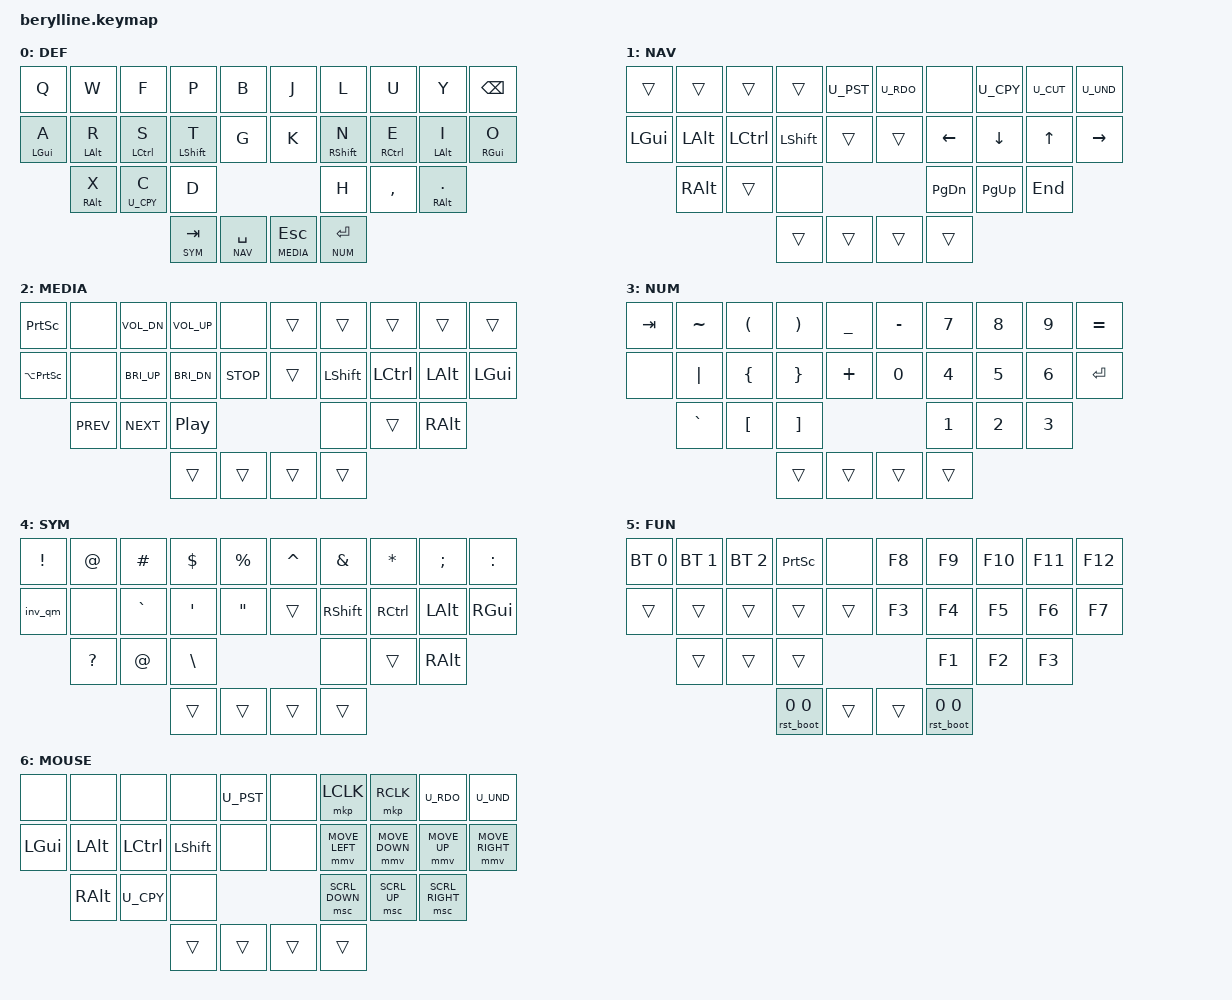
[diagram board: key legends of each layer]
/*
 * Copyright (c) 2022 The ZMK Contributors
 *
 * SPDX-License-Identifier: MIT
 */

#include <behaviors.dtsi>
#include <dt-bindings/zmk/bt.h>
#include <dt-bindings/zmk/keys.h>
#include "keypos_def/30keys.h"

#define BERYLLINE
#include "utilities.dtsi"
#include "mouse.dtsi"
#include "behaviors.dtsi"
#include "combos.dtsi"
#include "macros.dtsi"


/ {

/*   30 KEY MATRIX / LAYOUT MAPPING

  ╭─────────────────────┬─────────────────────╮
  │ LT4 LT3 LT2 LT1 LT0 │ RT0 RT1 RT2 RT3 RT4 │
  │ LM4 LM3 LM2 LM1 LM0 │ RM0 RM1 RM2 RM3 RM4 │
  ╰───╮ LB3 LB2 LB1     │     RB1 RB2 RB3 ╭───╯
      ╰───────╮ LH1 LH0 │ RH0 RH1 ╭───────╯
              ╰─────────┴─────────╯             */
  cond_layers {
      compatible = "zmk,conditional-layers";
      mouse_layer {
          if-layers = <SYM NUM>;
          then-layer = <MOUSE>;
      };

      fun_layer {
          if-layers = <NAV MEDIA>;
          then-layer = <FUN>;
      };
  };

  keymap {
    compatible = "zmk,keymap";

    default {
      display-name = "DEF";
      bindings = <
      &kp Q         &kp W         &kp F          &kp P          &kp B            &kp J         &kp L          &kp U          &kp Y            &kp BSPC 
      &hm_o LGUI A  &hm_o LALT R  &hm_m LCTL S   &hm_i LSHFT T  &kp G            &kp K         &hm_i RSHFT N  &hm_m RCTL E   &hm_o LALT I     &hm_o RGUI O 
                    &hm_o RALT X  &hm_o U_CPY C  &kp D                                         &kp H          &kp COMMA      &hm_o RALT DOT        
                                                 &lt SYM TAB  &lt NAV SPC        &lt MEDIA ESC &lt NUM RET
      >;
    };
    
    navigation {
      display-name = "NAV";
      bindings = <
      &trans    &trans    &trans     &trans     &kp U_PST &kp U_RDO  &none         &kp U_CPY  &kp U_CUT  &kp U_UND
      &kp LGUI  &kp LALT  &kp LCTRL  &kp LSHFT  &trans    &trans     &kp LEFT   &kp DOWN   &kp UP     &kp RIGHT
                &kp RALT  &trans     &none                           &kp PG_DN  &kp PG_UP  &kp END
                                     &trans     &trans    &trans     &trans
      >;
    };

    media {
      display-name = "MEDIA";
      bindings = <
      &kp PSCRN     &none         &kp C_VOL_DN  &kp C_VOL_UP  &none               &trans     &trans     &trans     &trans     &trans
      &kp LA(PSCRN) &none         &kp C_BRI_UP  &kp C_BRI_DN  &kp C_STOP          &trans     &kp LSHFT  &kp LCTRL  &kp LALT  &kp LGUI
                    &kp C_PREV    &kp C_NEXT    &kp C_PP                          &none      &trans     &kp RALT
                                                &trans     &trans    &trans          &trans
      >;
    };

    numbers {
      display-name = "NUM";
      bindings = <
      &kp TAB   &kp TILDE &kp LPAR   &kp RPAR  &kp UNDER   &kp MINUS  &kp N7     &kp N8     &kp N9    &kp EQUAL
      &none     &kp PIPE  &kp LBRC   &kp RBRC  &kp PLUS    &kp N0     &kp N4     &kp N5     &kp N6    &kp RET
                &kp GRAVE &kp LBKT   &kp RBKT                         &kp N1     &kp N2     &kp N3
                                     &trans     &trans    &trans          &trans
      >;
    };

    symbols {
      display-name = "SYM";
      bindings = <
      &kp EXCL   &kp AT         &kp HASH      &kp DOLLAR &kp PRCNT    &kp CARET &kp AMPS &kp STAR   &kp SEMI  &kp COLON  
      &inv_qm    &none          &kp GRAVE     &kp SQT    &kp DQT      &trans  &kp RSHFT  &kp RCTRL  &kp LALT  &kp RGUI
                 &kp QMARK      &kp AT_SIGN   &kp BSLH                        &none      &trans     &kp RALT
                                              &trans     &trans               &trans     &trans
      >;
    };

    functions {
      display-name = "FUN";
      bindings = <
      &bt BT_SEL 0 &bt BT_SEL 1 &bt BT_SEL 2  &kp PSCRN      &none          &kp F8         &kp F9     &kp F10   &kp F11   &kp F12 
      &trans       &trans       &trans        &trans         &trans         &kp F3         &kp F4     &kp F5    &kp F6    &kp F7
                   &trans       &trans        &trans                                       &kp F1     &kp F2     &kp F3   
                                              &rst_boot 0 0  &trans         &trans          &rst_boot 0 0 
      >;
    };

    mouse {
      display-name = "MOUSE";
      bindings = <
      &none     &none     &none      &none      &kp U_PST &none           &mkp LCLK       &mkp RCLK       &kp U_RDO        &kp U_UND
      &kp LGUI  &kp LALT  &kp LCTRL  &kp LSHFT  &none     &none           &mmv MOVE_LEFT  &mmv MOVE_DOWN  &mmv MOVE_UP     &mmv MOVE_RIGHT 
                &kp RALT  &kp U_CPY  &none                                &msc SCRL_DOWN  &msc SCRL_UP    &msc SCRL_RIGHT
                                     &trans     &trans    &trans          &trans
      >;
    };

 

  };
};
